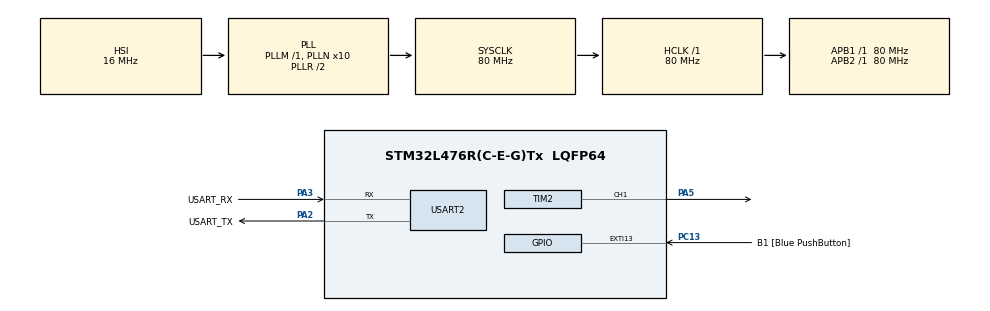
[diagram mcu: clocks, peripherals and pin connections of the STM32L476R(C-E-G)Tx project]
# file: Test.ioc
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Mcu.Family=STM32L4
Mcu.Name=STM32L476R(C-E-G)Tx
Mcu.Package=LQFP64
NVIC.PriorityGroup=NVIC_PRIORITYGROUP_4
PA13\ (JTMS-SWDIO).GPIO_Label=TMS
PA13\ (JTMS-SWDIO).Mode=Serial_Wire
PA13\ (JTMS-SWDIO).Signal=SYS_JTMS-SWDIO
PA14\ (JTCK-SWCLK).GPIO_Label=TCK
PA14\ (JTCK-SWCLK).Mode=Serial_Wire
PA14\ (JTCK-SWCLK).Signal=SYS_JTCK-SWCLK
PA2.GPIO_Label=USART_TX
PA2.GPIO_Mode=GPIO_MODE_AF_PP
PA2.GPIO_PuPd=GPIO_NOPULL
PA2.GPIO_Speed=GPIO_SPEED_FREQ_VERY_HIGH
PA2.Mode=Asynchronous
PA2.Signal=USART2_TX
PA3.GPIO_Label=USART_RX
PA3.GPIO_Mode=GPIO_MODE_AF_PP
PA3.GPIO_PuPd=GPIO_NOPULL
PA3.GPIO_Speed=GPIO_SPEED_FREQ_VERY_HIGH
PA3.Mode=Asynchronous
PA3.Signal=USART2_RX
PA5.Signal=S_TIM2_CH1
PB3\ (JTDO-TRACESWO).GPIO_Label=SWO
PB3\ (JTDO-TRACESWO).Signal=SYS_JTDO-SWO
PC13.GPIO_Label=B1 [Blue PushButton]
PC13.GPIO_ModeDefaultEXTI=GPIO_MODE_IT_FALLING
PC13.GPIO_PuPd=GPIO_NOPULL
PC13.Signal=GPXTI13
PC14-OSC32_IN\ (PC14).Mode=LSE-External-Oscillator
PC14-OSC32_IN\ (PC14).Signal=RCC_OSC32_IN
PC15-OSC32_OUT\ (PC15).Mode=LSE-External-Oscillator
PC15-OSC32_OUT\ (PC15).Signal=RCC_OSC32_OUT
PH0-OSC_IN\ (PH0).Signal=RCC_OSC_IN
PH1-OSC_OUT\ (PH1).Signal=RCC_OSC_OUT
ProjectManager.HeapSize=0x200
ProjectManager.StackSize=0x400
ProjectManager.TargetToolchain=Makefile
RCC.ADCFreq_Value=64000000
RCC.AHBFreq_Value=80000000
RCC.APB1Freq_Value=80000000
RCC.APB1TimFreq_Value=80000000
RCC.APB2Freq_Value=80000000
RCC.APB2TimFreq_Value=80000000
RCC.CortexFreq_Value=80000000
RCC.HCLKFreq_Value=80000000
RCC.HSE_VALUE=8000000
RCC.HSI_VALUE=16000000
RCC.MSI_VALUE=4000000
RCC.PLLN=10
RCC.PLLSourceVirtual=RCC_PLLSOURCE_HSI
RCC.PREFETCH_ENABLE=1
RCC.SYSCLKFreq_VALUE=80000000
RCC.SYSCLKSource=RCC_SYSCLKSOURCE_PLLCLK
RCC.USBFreq_Value=64000000
RCC.VCOOutputFreq_Value=160000000
SH.S_TIM2_CH1.0=TIM2_CH1,PWM Generation1 CH1
TIM2.AutoReloadPreload=TIM_AUTORELOAD_PRELOAD_ENABLE
TIM2.Channel-PWM\ Generation1\ CH1=TIM_CHANNEL_1
TIM2.Period=255
TIM2.Pulse-PWM\ Generation1\ CH1=25
USART2.VirtualMode-Asynchronous=VM_ASYNC
VP_TIM2_VS_ClockSourceINT.Mode=Internal
board=NUCLEO-L476RG

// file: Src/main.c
/* USER CODE BEGIN Header */
/**
 ******************************************************************************
 * @file           : main.c
 * @brief          : Main program body
 ******************************************************************************
 * @attention
 *
 * Copyright (c) 2026 STMicroelectronics.
 * All rights reserved.
 *
 * This software is licensed under terms that can be found in the LICENSE file
 * in the root directory of this software component.
 * If no LICENSE file comes with this software, it is provided AS-IS.
 *
 ******************************************************************************
 */
/* USER CODE END Header */
#include "main.h"
#include "gpio.h"
#include "tim.h"
#include "usart.h"

/* USER CODE BEGIN Includes */
#include "stm32l476xx.h"
#include "stm32l4xx_hal.h"
#include "stm32l4xx_hal_def.h"
#include "stm32l4xx_hal_gpio.h"
#include "stm32l4xx_hal_tim.h"
#include "stm32l4xx_hal_uart.h"
#include <stdio.h>
#include <string.h>

/* USER CODE END Includes */

/* USER CODE BEGIN PV */

char data[32];
uint8_t brightness = 0;

/* USER CODE END PV */

void SystemClock_Config(void);

int main(void) {

  /* MCU Configuration--------------------------------------------------------*/

  /* Reset of all peripherals, Initializes the Flash interface and the Systick.
   */
  HAL_Init();

  /* Configure the system clock */
  SystemClock_Config();

  /* Initialize all configured peripherals */
  MX_GPIO_Init();
  MX_USART2_UART_Init();
  MX_TIM2_Init();
  /* USER CODE BEGIN 2 */
  HAL_TIM_PWM_Start(&htim2, TIM_CHANNEL_1);

  /* USER CODE END 2 */

  /* Infinite loop */
  /* USER CODE BEGIN WHILE */
  while (1) {
    if (Button_WasPressed(B1_GPIO_Port, B1_Pin, 50)) {
      brightness = (brightness + 64) % 256;
      __HAL_TIM_SET_COMPARE(&htim2, TIM_CHANNEL_1, brightness);
      sprintf(data, "Brightness: %u\r\n", brightness);
      HAL_UART_Transmit(&huart2, (uint8_t *)data, strlen(data), 1000);
    }
  }
  /* USER CODE END 3 */
}

void SystemClock_Config(void) {
  RCC_OscInitTypeDef RCC_OscInitStruct = {0};
  RCC_ClkInitTypeDef RCC_ClkInitStruct = {0};

  /** Configure the main internal regulator output voltage
   */
  if (HAL_PWREx_ControlVoltageScaling(PWR_REGULATOR_VOLTAGE_SCALE1) != HAL_OK) {
    Error_Handler();
  }

  /** Initializes the RCC Oscillators according to the specified parameters
   * in the RCC_OscInitTypeDef structure.
   */
  RCC_OscInitStruct.OscillatorType = RCC_OSCILLATORTYPE_HSI;
  RCC_OscInitStruct.HSIState = RCC_HSI_ON;
  RCC_OscInitStruct.HSICalibrationValue = RCC_HSICALIBRATION_DEFAULT;
  RCC_OscInitStruct.PLL.PLLState = RCC_PLL_ON;
  RCC_OscInitStruct.PLL.PLLSource = RCC_PLLSOURCE_HSI;
  RCC_OscInitStruct.PLL.PLLM = 1;
  RCC_OscInitStruct.PLL.PLLN = 10;
  RCC_OscInitStruct.PLL.PLLP = RCC_PLLP_DIV7;
  RCC_OscInitStruct.PLL.PLLQ = RCC_PLLQ_DIV2;
  RCC_OscInitStruct.PLL.PLLR = RCC_PLLR_DIV2;
  if (HAL_RCC_OscConfig(&RCC_OscInitStruct) != HAL_OK) {
    Error_Handler();
  }

  /** Initializes the CPU, AHB and APB buses clocks
   */
  RCC_ClkInitStruct.ClockType = RCC_CLOCKTYPE_HCLK | RCC_CLOCKTYPE_SYSCLK |
                                RCC_CLOCKTYPE_PCLK1 | RCC_CLOCKTYPE_PCLK2;
  RCC_ClkInitStruct.SYSCLKSource = RCC_SYSCLKSOURCE_PLLCLK;
  RCC_ClkInitStruct.AHBCLKDivider = RCC_SYSCLK_DIV1;
  RCC_ClkInitStruct.APB1CLKDivider = RCC_HCLK_DIV1;
  RCC_ClkInitStruct.APB2CLKDivider = RCC_HCLK_DIV1;

  if (HAL_RCC_ClockConfig(&RCC_ClkInitStruct, FLASH_LATENCY_4) != HAL_OK) {
    Error_Handler();
  }
}

/* USER CODE BEGIN 4 */

/**
 * @brief Detect a single active-low button press.
 *
 * Checks whether the specified GPIO input is asserted (LOW), performs
 * a debounce delay, verifies that the button is still pressed, and then
 * waits until the button is released before returning.
 *
 * This function is blocking because it uses HAL_Delay() and waits in a
 * loop for the button release.
 *
 * @param port GPIO port containing the button pin.
 * @param pin GPIO pin connected to the button.
 * @param debounce_ms Debounce time in milliseconds.
 *
 * @retval 1 A valid button press-and-release event was detected.
 * @retval 0 No valid button press was detected.
 */
uint8_t Button_WasPressed(GPIO_TypeDef *port, uint16_t pin,
                          uint32_t debounce_ms) {
  // Active-low button
  if (HAL_GPIO_ReadPin(port, pin) == GPIO_PIN_RESET) {
    HAL_Delay(debounce_ms); // debounce

    // Confirm still pressed after debounce
    if (HAL_GPIO_ReadPin(port, pin) == GPIO_PIN_RESET) {
      // Wait for release
      while (HAL_GPIO_ReadPin(port, pin) == GPIO_PIN_RESET)
        ;

      return 1;
    }
  }

  return 0;
}

/* USER CODE END 4 */

void Error_Handler(void) {
  __disable_irq();
  while (1) {
  }
}
#ifdef USE_FULL_ASSERT
/**
 * @brief  Reports the name of the source file and the source line number
 *         where the assert_param error has occurred.
 * @param  file: pointer to the source file name
 * @param  line: assert_param error line source number
 * @retval None
 */
void assert_failed(uint8_t *file, uint32_t line) {
  /* USER CODE BEGIN 6 */
  /* User can add his own implementation to report the file name and line
     number, ex: printf("Wrong parameters value: file %s on line %d\r\n", file,
     line) */
  /* USER CODE END 6 */
}
#endif /* USE_FULL_ASSERT */
